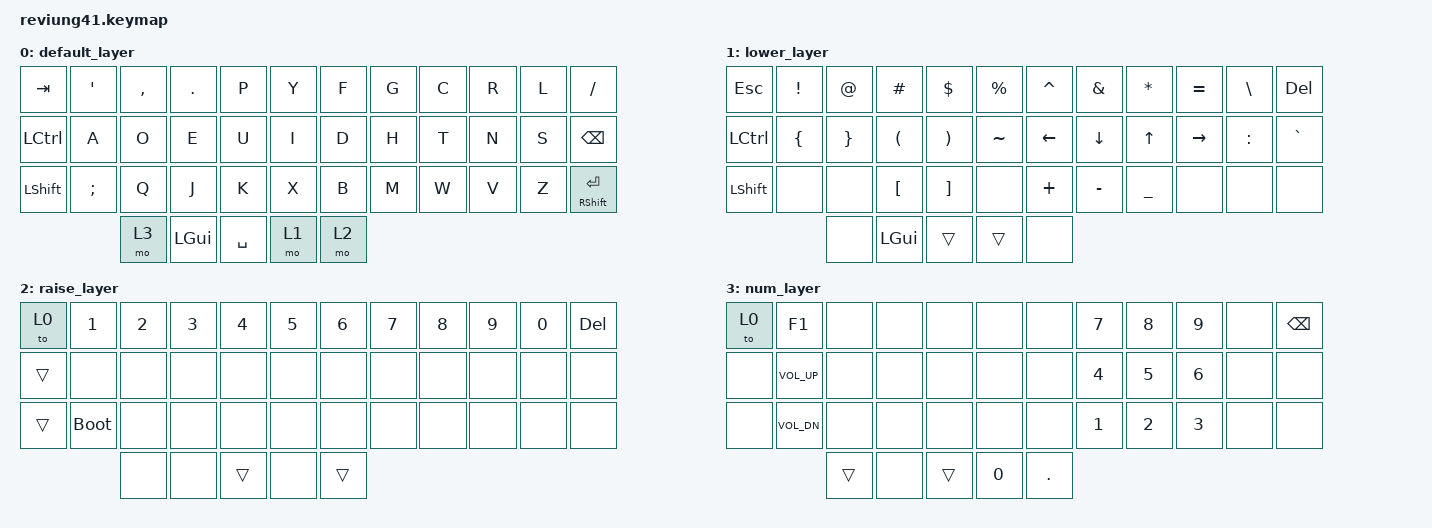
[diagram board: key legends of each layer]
/*
 * Copyright (c) 2020 The ZMK Contributors
 *
 * SPDX-License-Identifier: MIT
 */

#include <behaviors.dtsi>
#include <dt-bindings/zmk/keys.h>
#include <dt-bindings/zmk/bt.h>
#include <dt-bindings/zmk/rgb.h>

/ {
    combos {
        compatible = "zmk,combos";
        combo_alt {
            timeout-ms = <50>;
            key-positions = <36 37>;
            bindings = <&kp LALT>;
        };
        combo_caps {
            timeout-ms = <50>;
            key-positions = <37 39>;
            bindings = <&kp CAPS>;
        };
    };
};

/ {
        keymap {
                compatible = "zmk,keymap";

                default_layer {
//
// ------------------------------------------------------------------------------------
// |  TAB |  '' |  ,  |  .  |  P  |  Y  |||||  F  |  G  |  C  |  R  |  L  |    /      |
// | CTRL |  A  |  O  |  E  |  U  |  I  |||||  D  |  H  |  T  |  N  |  S  |   BKSP    |
// | SHFT |  ;  |  Q  |  J  |  K  |  X  |||||  B  |  M  |  W  |  V  |  Z  | SHFT(RET) |
//                         | LY3 | GUI | SPC | LY1 | LY2 |
//
                        bindings = <
   &kp TAB   &kp SQT  &kp COMMA &kp DOT &kp P &kp Y   &kp F &kp G  &kp C &kp R &kp L &kp FSLH
   &kp LCTRL &kp A    &kp O     &kp E   &kp U &kp I   &kp D &kp H  &kp T &kp N &kp S &kp BSPC
   &kp LSHFT &kp SEMI &kp Q     &kp J   &kp K &kp X   &kp B &kp M  &kp W &kp V &kp Z &mt RSHFT RET
                      &mo 3  &kp LGUI &kp SPACE &mo 1  &mo 2
                        >;
                };

                lower_layer {
//
// -------------------------------------------------------------------------------
// | ESC  |  !  |  @  |  #  |  $  |  %  ||||||  ^  |  &  |  *  |  =  |  \  | DEL |
// | CTRL |  {  |  }  |  (  |  )  |  ~  ||||||  ←  |  ↓  |  ↑  |  →  |  :  |  `  |
// | SHFT |     |     |  [  |  ]  |     ||||||  +  |  -  |  _  |     |     |     |
//                        |     | GUI | trans | trans |     |
//
                        bindings = <
   &kp ESC   &kp EXCL &kp AT   &kp HASH  &kp DLLR  &kp PRCNT     &kp CARET &kp AMPS  &kp ASTRK &kp EQUAL &kp BSLH  &kp DEL
   &kp LCTRL &kp LBRC &kp RBRC &kp LPAR  &kp RPAR  &kp TILDE     &kp LEFT  &kp DOWN  &kp UP    &kp RIGHT &kp COLON &kp GRAVE
   &kp LSHFT &none    &none    &kp LBKT  &kp RBKT  &none         &kp PLUS  &kp MINUS &kp UNDER &none     &none     &none
                                    &none      &kp LGUI    &trans        &trans      &none
                        >;
                };

                raise_layer {
//
// -------------------------------------------------------------------------------
// | LY0 |  1  |  2  |  3  |  4  |  5  |||||  6  |  7  |  8  |  9  |  0  |  DEL  |
// |     |     |     |     |     |     |||||     |     |     |     |     |       |
// |     | BOOT|     |     |     |     |||||     |     |     |     |     |       |
//                        |     |     |     |     |     |
//
                        bindings = <
   &to 0  &kp N1       &kp N2      &kp N3   &kp N4   &kp N5         &kp N6    &kp N7   &kp N8    &kp N9    &kp N0    &kp DEL
   &trans &none        &none       &none    &none    &none          &none     &none    &none     &none     &none     &none
   &trans &bootloader  &none       &none    &none    &none          &none     &none    &none     &none     &none     &none
                               &none      &none       &trans        &none       &trans
                        >;
                };

                num_layer {
//
// ---------------------------------------------------------------------------------
// | LY0 |  F1  |     |     |     |     |||||||     |  7  |  8  |  9  |     | BKSP |
// |     | VOL+ |     |     |     |     |||||||     |  4  |  5  |  6  |     |      |
// |     | VOL- |     |     |     |     |||||||     |  1  |  2  |  3  |     |      |
//                         |     |     |       |  0  |  .  |
//
                        bindings = <
   &to 0 &kp F1       &none &none &none &none    &none &kp N7 &kp N8 &kp N9 &none &kp BSPC
   &none &kp C_VOL_UP &none &none &none &none    &none &kp N4 &kp N5 &kp N6 &none &none
   &none &kp C_VOL_DN &none &none &none &none    &none &kp N1 &kp N2 &kp N3 &none &none
                               &trans &none &trans &kp N0 &kp DOT
                        >;
                };
        };
};
